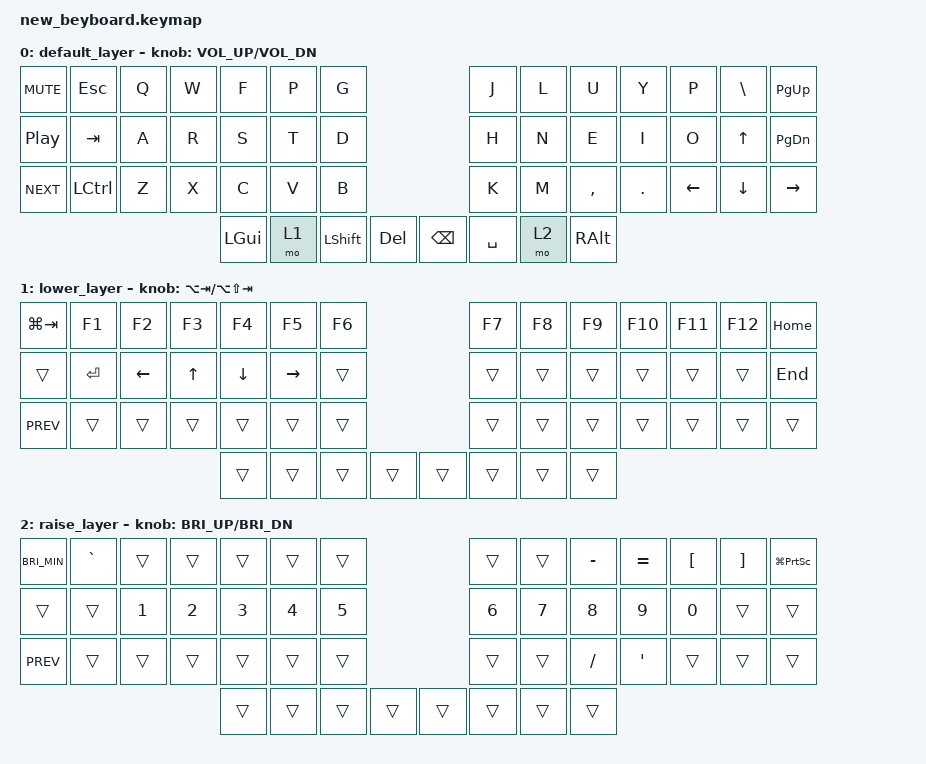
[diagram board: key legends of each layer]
#include <behaviors.dtsi>
#include <dt-bindings/zmk/keys.h>


/ {
      keymap {
              compatible = "zmk,keymap";

              default_layer {
// --------------------------------------------------------------------------------------------------------------------------------------------------------------------
// |  MUTE    |   ESC   |    Q    |    W    |    F    |    P    |    G    |                      |    J    |    L    |    U    |    Y    |    ;    |    \    |  PGUP   |
// |PLAY/PAUSE|   TAB   |    A    |    R    |    S    |    T    |    D    |                      |    H    |    N    |    E    |    I    |    O    |    UP   |  PGDN   |
// |  NEXT    |  LCTRL  |    Z    |    X    |    C    |    V    |    B    |                      |    K    |    M    |    ,    |    .    |  LEFT   |   DOWN  |  RIGHT  |
//                                          |   GUI   |  LOWER  |  SHIFT  |   DEL   |  |   BSPC  |  SPACE  |  RAISE  |  R ALT  |         |                                
            bindings = <
    &kp C_MUTE &kp ESC   &kp Q     &kp W     &kp F     &kp P     &kp G                             &kp J     &kp L     &kp U     &kp Y     &kp P    &kp BSLH   &kp PG_UP
    &kp C_PP   &kp TAB   &kp A     &kp R     &kp S     &kp T     &kp D                             &kp H     &kp N     &kp E     &kp I     &kp O    &kp UP     &kp PG_DN
    &kp C_NEXT &kp LCTRL &kp Z     &kp X     &kp C     &kp V     &kp B                             &kp K     &kp M     &kp COMMA &kp DOT   &kp LEFT &kp DOWN   &kp RIGHT
                                             &kp LGUI  &mo 1     &kp LSHIFT &kp DEL      &kp BSPC  &kp SPACE &mo 2     &kp RALT
            >;
            
            sensor-bindings = <&inc_dec_kp C_VOL_UP C_VOL_DN>;
       
              };


              lower_layer {
// --------------------------------------------------------------------------------------------------------------------------------------------------------------------
// |  WINTAB  |  FN1    |  FN2    |   FN3   |   FN4   |   FN5   |   FN6   |                      |   FN7   |   FN8   |   FN9   |  FN10   |  FN11   |  FN12   |  HOME   |
// |          |  ENTER  |  LEFT   |   UP    |  DOWN   |   RIGHT |         |                      |         |         |         |         |         |         |   END   |
// |   PREV   |         |         |         |         |         |         |                      |         |         |         |         |         |         |         |
//                                          |         |         |         |         |  |         |         |         |         |         |                                 
            bindings = <
    &kp LG(TAB) &kp F1    &kp F2    &kp F3    &kp F4    &kp F5    &kp F6                           &kp F7    &kp F8    &kp F9    &kp F10   &kp F11  &kp F12    &kp HOME
    &trans      &kp ENTER &kp LEFT  &kp UP    &kp DOWN  &kp RIGHT &trans                           &trans    &trans    &trans    &trans    &trans   &trans     &kp END
    &kp C_PREV  &trans    &trans    &trans    &trans    &trans    &trans                           &trans    &trans    &trans    &trans    &trans   &trans     &trans
                                              &trans    &trans    &trans    &trans       &trans    &trans    &trans    &trans
            >;
            
            sensor-bindings = <&inc_dec_kp LA(TAB) LA(LS(TAB))>;
       
              };

              raise_layer {
// --------------------------------------------------------------------------------------------------------------------------------------------------------------------
// |  MINBRI  |    `    |         |         |         |         |         |                      |         |         |    -    |    +    |    [    |    ]    |SCREENSHOT|
// |          |         |    1    |    2    |    3    |    4    |    5    |                      |    6    |    7    |    8    |    9    |    0    |         |          |
// |   PREV   |         |         |         |         |         |         |                      |         |         |    /    |    '    |         |         |          |
//                                          |         |         |         |         |  |         |         |         |         |         |                                  
            bindings = <
    &kp C_BRI_MIN &kp GRAVE &trans    &trans    &trans    &trans    &trans                           &trans    &trans    &kp MINUS &kp EQUAL &kp LBKT &kp RBKT   &kp LG(PSCRN)
    &trans        &trans    &kp N1    &kp N2    &kp N3    &kp N4    &kp N5                           &kp N6    &kp N7    &kp N8    &kp N9    &kp N0   &trans     &trans
    &kp C_PREV    &trans    &trans    &trans    &trans    &trans    &trans                           &trans    &trans    &kp SLASH &kp SQT   &trans   &trans     &trans
                                                &trans    &trans    &trans    &trans       &trans    &trans    &trans    &trans  
            >;
            
            sensor-bindings = <&inc_dec_kp C_BRI_UP C_BRI_DN>;
       
              };
      };
 };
